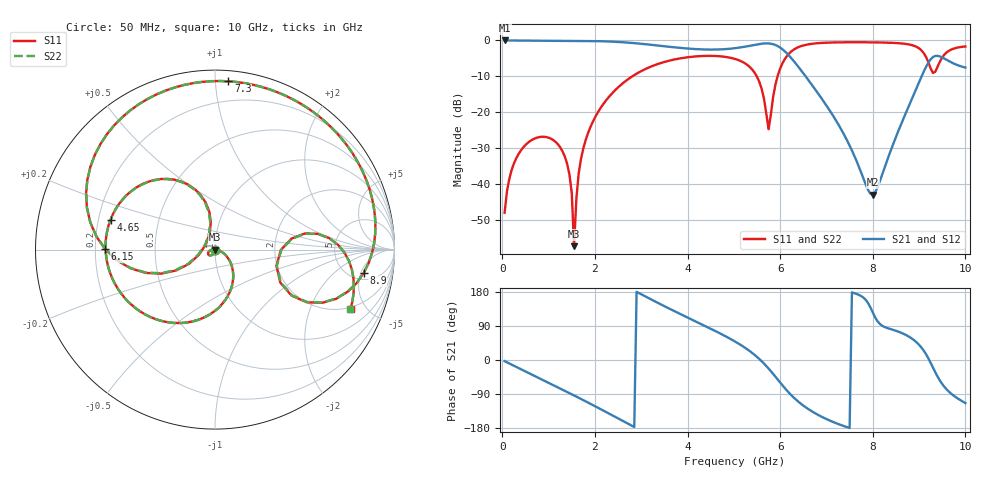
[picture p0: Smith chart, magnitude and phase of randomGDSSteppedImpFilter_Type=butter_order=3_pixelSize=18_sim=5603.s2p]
! freq	dB(S11)	phase(S11)	dB(S12)	phase(S12)
!  dB(S21)	phase(S21)	dB(S22)	phase(S22)
!S-par simulation data
#  GHz  S  DB  R 50
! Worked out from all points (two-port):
!   200 points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, 50 MHz to 10 GHz, reference 50 ohm
!   highest |S21| = -0.01 dB at 50 MHz (marker M1); lowest = -42.9 dB at 8 GHz (marker M2)
!   |S21| within 3 dB of the highest: start of sweep to 6.099 GHz
!   lowest |S11| = -57.2 dB at 1.55 GHz (marker M3), VSWR 1.00, Z = 49.9 - j0.102 ohm
!   |S11| at or under -10 dB: start of sweep to 2.804 GHz; 5.496 GHz to 5.944 GHz (447.8 MHz wide, 7.83 % of centre)
!   |S22| runs from -57.0 to -0.5 dB; largest |S21 - S12| = 0
!   S11 on the Smith chart (normalised r, x): 50 MHz: 1.00, -0.01; 4.65 GHz: 0.25, +0.13; 6.15 GHz: 0.24, +0.00; 7.3 GHz: 0.07, +1.08; 8.9 GHz: 6.32, -5.61; 10 GHz: 1.90, -3.91
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0.05  -47.89 -88.1  -0.01 -3.0  -0.01 -3.0  -47.88 -88.1
0.35  -31.58 -110.5  -0.04 -21.0  -0.04 -21.0  -31.58 -110.5
1.05  -27.29 -153.6  -0.09 -63.0  -0.09 -63.0  -27.29 -153.9
1.45  -37.23 -177.6  -0.11 -87.3  -0.11 -87.3  -37.24 -179.3
1.55  -57.16 -132.8  -0.11 -93.5  -0.11 -93.5  -57.00 122.7
1.65  -36.92 -11.3  -0.12 -99.7  -0.12 -99.7  -36.91 -9.2
1.75  -29.98 -17.2  -0.13 -105.9  -0.13 -105.9  -29.98 -16.1
2.6  -11.93 -71.5  -0.50 -160.6  -0.50 -160.6  -11.92 -71.3
3.4  -6.38 -122.4  -1.48 148.2  -1.48 148.2  -6.38 -122.2
4.65  -4.36 164.0  -2.52 73.5  -2.52 73.5  -4.36 164.2
5.05  -5.24 138.5  -2.12 47.1  -2.12 47.1  -5.24 138.8
5.5  -10.09 104.6  -1.11 8.2  -1.11 8.2  -10.08 105.2
5.75  -24.67 149.2  -0.84 -22.5  -0.84 -22.5  -24.17 149.7
6.15  -4.27 179.9  -3.64 -81.1  -3.64 -81.1  -4.27 179.7
6.7  -0.91 125.0  -12.60 -136.6  -12.60 -136.6  -0.91 125.0
7.3  -0.53 85.4  -24.29 -171.1  -24.29 -171.1  -0.53 85.5
8  -0.54 46.3  -42.88 125.3  -42.88 125.3  -0.54 46.4
8.35  -0.63 26.9  -31.91 82.9  -31.91 82.9  -0.63 27.0
8.9  -1.53 -9.1  -14.58 51.4  -14.58 51.4  -1.53 -8.9
9.3  -9.03 -14.8  -4.62 -20.0  -4.62 -20.0  -8.97 -14.7
9.5  -4.72 8.7  -4.74 -63.4  -4.74 -63.4  -4.71 8.5
10  -1.68 -23.6  -7.54 -113.5  -7.54 -113.5  -1.68 -23.7
